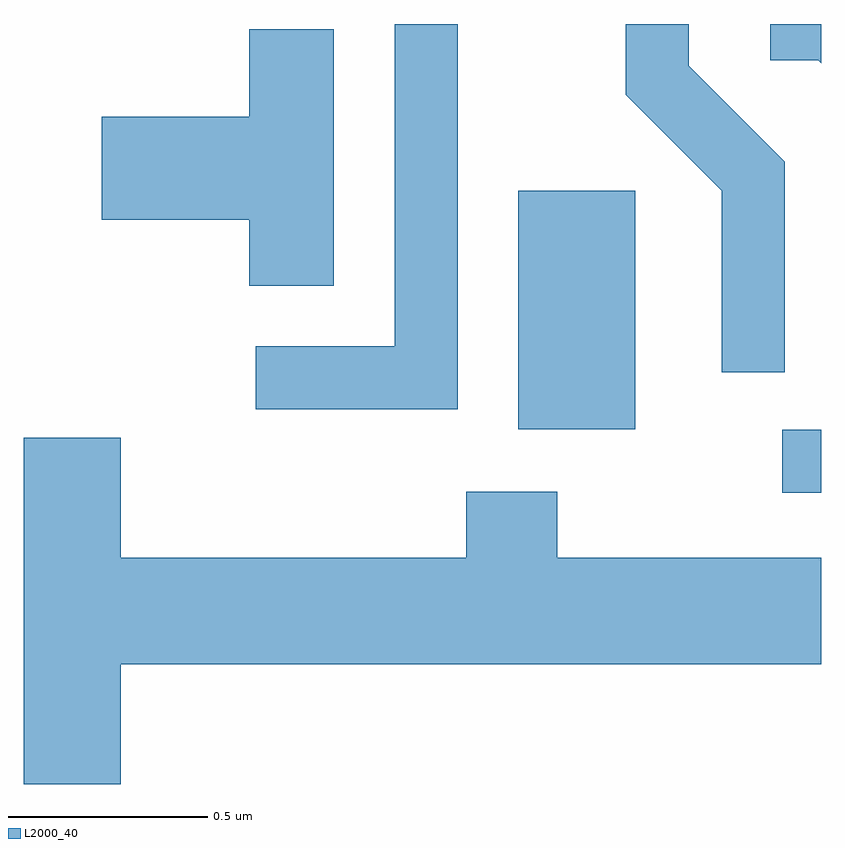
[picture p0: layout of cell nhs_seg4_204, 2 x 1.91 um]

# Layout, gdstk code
import gdstk
lib = gdstk.Library(unit=1e-6, precision=1e-09)
def R(c, l, rs):  # rectangles x0, y0, x1, y1
    for r in rs: c.add(gdstk.rectangle(r[:2], r[2:], *l))
def P(c, l, *ps):  # polygons
    for p in ps: c.add(gdstk.Polygon(p, *l))
L2000_40 = (2000, 40)

nhs_seg4_204 = lib.new_cell('nhs_seg4_204')
R(nhs_seg4_204, L2000_40, [(188.513,1321.806,188.611,1321.964), (187.851,1321.966,188.144,1322.564)])
P(nhs_seg4_204, L2000_40, [(188.611,1322.982),(188.483,1322.982),(188.483,1322.891),(188.604,1322.891),(188.611,1322.884)],
  [(187.699,1322.982),(187.541,1322.982),(187.541,1322.174),(187.193,1322.174),(187.193,1322.016),(187.699,1322.016)],
  [(188.519,1322.637),(188.279,1322.877),(188.279,1322.982),(188.121,1322.982),(188.121,1322.804),(188.361,1322.564),(188.361,1322.108),(188.519,1322.108)],
  [(187.389,1322.969),(187.176,1322.969),(187.176,1322.749),(186.806,1322.749),(186.806,1322.491),(187.176,1322.491),(187.176,1322.326),(187.389,1322.326)],
  [(186.854,1321.376),(188.611,1321.376),(188.611,1321.644),(187.949,1321.644),(187.949,1321.809),(187.721,1321.809),(187.721,1321.644),(186.854,1321.644),(186.854,1321.944),(186.611,1321.944),(186.611,1321.076),(186.854,1321.076)])

lib.write_gds('nhs_seg4_204.gds')
